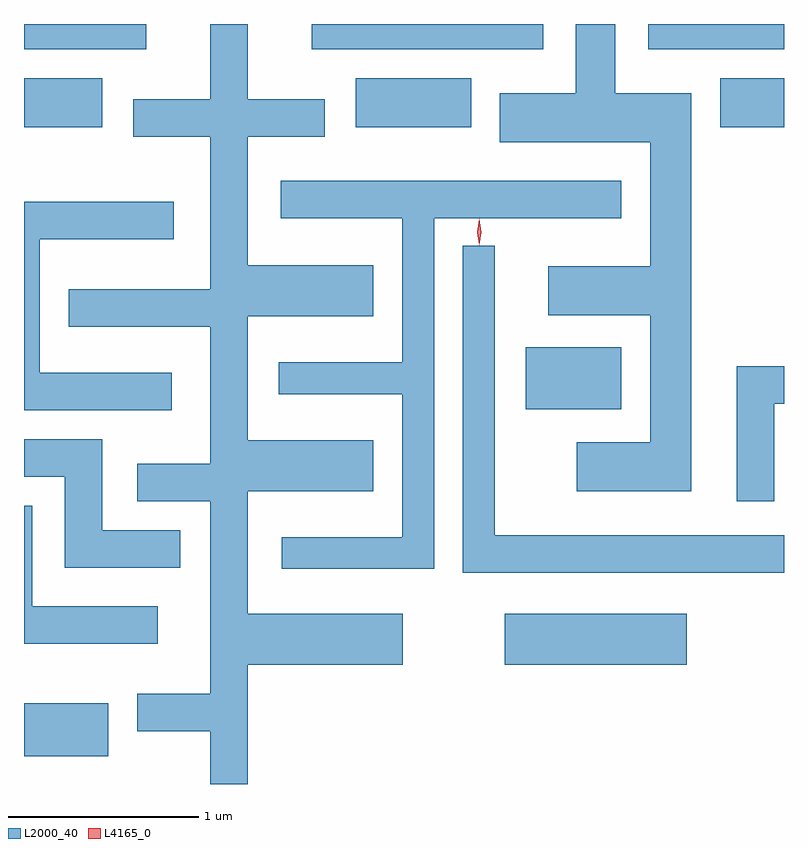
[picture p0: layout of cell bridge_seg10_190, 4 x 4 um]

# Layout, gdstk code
import gdstk
lib = gdstk.Library(unit=1e-6, precision=1e-09)
def R(c, l, rs):  # rectangles x0, y0, x1, y1
    for r in rs: c.add(gdstk.rectangle(r[:2], r[2:], *l))
def P(c, l, *ps):  # polygons
    for p in ps: c.add(gdstk.Polygon(p, *l))
L2000_40 = (2000, 40)
L4165_0 = (4165, 0)

bridge_seg10_190 = lib.new_cell('bridge_seg10_190')
R(bridge_seg10_190, L2000_40, [(1709.651,2139.486,1710.094,2139.764), (1712.181,2139.966,1713.139,2140.234), (1712.291,2141.311,1712.794,2141.639), (1709.651,2142.796,1710.064,2143.054), (1711.396,2142.796,1712.004,2143.054), (1713.316,2142.796,1713.651,2143.054), (1709.651,2143.206,1710.294,2143.339), (1711.166,2143.206,1712.384,2143.339), (1712.936,2143.206,1713.651,2143.339)])
P(bridge_seg10_190, L2000_40, [(1710.829,2139.966),(1711.644,2139.966),(1711.644,2140.234),(1710.829,2140.234),(1710.829,2140.881),(1711.489,2140.881),(1711.489,2141.149),(1710.829,2141.149),(1710.829,2141.801),(1711.489,2141.801),(1711.489,2142.069),(1710.829,2142.069),(1710.829,2142.746),(1711.234,2142.746),(1711.234,2142.944),(1710.829,2142.944),(1710.829,2143.339),(1710.631,2143.339),(1710.631,2142.944),(1710.226,2142.944),(1710.226,2142.746),(1710.631,2142.746),(1710.631,2141.944),(1709.886,2141.944),(1709.886,2141.746),(1710.631,2141.746),(1710.631,2141.024),(1710.246,2141.024),(1710.246,2140.826),(1710.631,2140.826),(1710.631,2139.814),(1710.246,2139.814),(1710.246,2139.616),(1710.631,2139.616),(1710.631,2139.339),(1710.829,2139.339)],
  [(1713.164,2142.974),(1712.764,2142.974),(1712.764,2143.339),(1712.556,2143.339),(1712.556,2142.974),(1712.156,2142.974),(1712.156,2142.716),(1712.946,2142.716),(1712.946,2142.064),(1712.411,2142.064),(1712.411,2141.806),(1712.946,2141.806),(1712.946,2141.139),(1712.561,2141.139),(1712.561,2140.881),(1713.164,2140.881)],
  [(1711.809,2142.316),(1712.794,2142.316),(1712.794,2142.514),(1711.001,2142.514),(1711.001,2142.316),(1711.641,2142.316),(1711.641,2141.559),(1710.993,2141.559),(1710.993,2141.391),(1711.641,2141.391),(1711.641,2140.639),(1711.008,2140.639),(1711.008,2140.471),(1711.809,2140.471)],
  [(1710.429,2141.504),(1709.734,2141.504),(1709.734,2142.206),(1710.439,2142.206),(1710.439,2142.404),(1709.651,2142.404),(1709.651,2141.306),(1710.429,2141.306)],
  [(1713.651,2140.649),(1712.129,2140.649),(1712.129,2142.173),(1711.961,2142.173),(1711.961,2140.451),(1713.651,2140.451)],
  [(1713.599,2141.341),(1713.651,2141.341),(1713.651,2141.539),(1713.401,2141.539),(1713.401,2140.826),(1713.599,2140.826)],
  [(1710.474,2140.674),(1710.064,2140.674),(1710.064,2141.154),(1709.651,2141.154),(1709.651,2140.956),(1709.866,2140.956),(1709.866,2140.476),(1710.474,2140.476)],
  [(1710.354,2140.274),(1709.694,2140.274),(1709.694,2140.804),(1709.651,2140.804),(1709.651,2140.076),(1710.354,2140.076)])
P(bridge_seg10_190, L4165_0, [(1712.046,2142.178),(1712.037,2142.244),(1712.046,2142.311),(1712.047,2142.311),(1712.047,2142.311),(1712.057,2142.244),(1712.047,2142.178),(1712.047,2142.178)],
  [(1712.048,2142.174),(1712.048,2142.175),(1712.038,2142.244),(1712.048,2142.313),(1712.048,2142.314),(1712.048,2142.313),(1712.058,2142.244),(1712.048,2142.175)])

lib.write_gds('bridge_seg10_190.gds')
